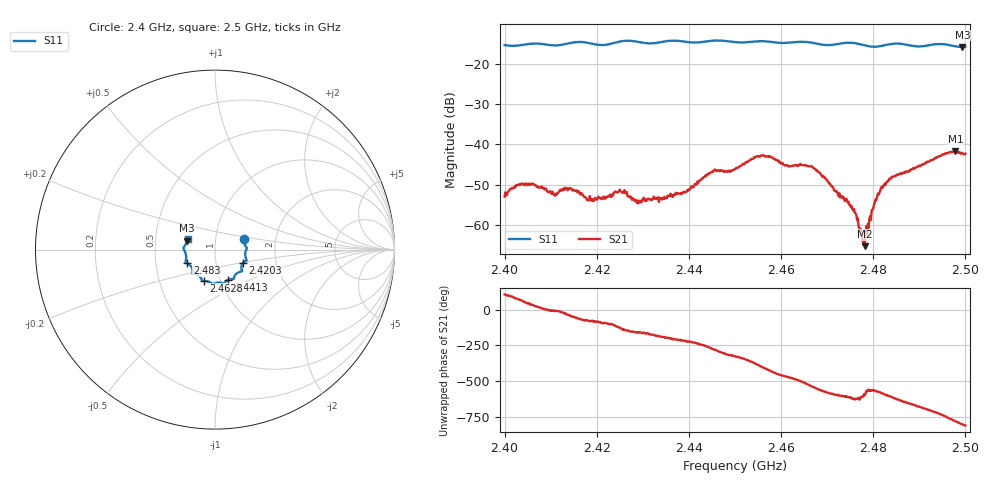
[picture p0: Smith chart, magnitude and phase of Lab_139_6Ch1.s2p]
# Hz S RI R 50
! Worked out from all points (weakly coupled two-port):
!   601 points, 2.4 GHz to 2.5 GHz, reference 50 ohm
!   highest |S21| = -41.77 dB at 2.4978 GHz (marker M1); lowest = -65.3 dB at 2.4782 GHz (marker M2)
!   lowest |S11| = -15.8 dB at 2.4993 GHz (marker M3), VSWR 1.39, Z = 36.5 + j3.69 ohm
!   |S11| at or under -10 dB: start of sweep to end of sweep
!   S12 and S22 are empty: the file has one direction only
!   S11 on the Smith chart (normalised r, x): 2.4 GHz: 1.37, +0.16; 2.4203 GHz: 1.35, -0.21; 2.4413 GHz: 1.09, -0.38; 2.4628 GHz: 0.83, -0.30; 2.483 GHz: 0.72, -0.11; 2.5 GHz: 0.73, +0.09
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2.4e9  0.161 0.057  -0.000574 0.00216  0 0  0 0
2.404167e9  0.1721 0.0167  0.00189 0.00255  0 0  0 0
2.416667e9  0.1762 -0.0616  0.000824 -0.00234  0 0  0 0
2.420333e9  0.1553 -0.0742  0.000218 -0.00223  0 0  0 0
2.4255e9  0.1511 -0.1175  -0.00177 -0.00175  0 0  0 0
2.428667e9  0.1437 -0.1224  -0.00175 -0.00069  0 0  0 0
2.433333e9  0.1081 -0.1482  -0.00219 0.000131  0 0  0 0
2.441333e9  0.0745 -0.1683  -0.00192 0.00259  0 0  0 0
2.445167e9  0.0516 -0.1869  0.000588 0.00449  0 0  0 0
2.45e9  0.0292 -0.1839  0.00415 0.00263  0 0  0 0
2.456e9  -0.012 -0.1906  0.00523 -0.00507  0 0  0 0
2.462833e9  -0.0631 -0.1747  -0.00305 -0.00447  0 0  0 0
2.466667e9  -0.0744 -0.1674  -0.00534 -0.000221  0 0  0 0
2.4745e9  -0.1244 -0.1339  -0.000505 0.00181  0 0  0 0
2.477667e9  -0.1244 -0.1193  -0.000253 0.000608  0 0  0 0
2.478167e9  -0.1248 -0.1148  -0.000273 0.000468  0 0  0 0
2.480667e9  -0.1359 -0.0903  -0.00177 0.000976  0 0  0 0
2.483e9  -0.1549 -0.0768  -0.0018 0.00284  0 0  0 0
2.483333e9  -0.1571 -0.0756  -0.00148 0.00318  0 0  0 0
2.497833e9  -0.1617 0.0312  0.00384 -0.0072  0 0  0 0
2.499333e9  -0.1545 0.0492  0.000953 -0.00774  0 0  0 0
2.5e9  -0.1527 0.0583  -0.000142 -0.00765  0 0  0 0
